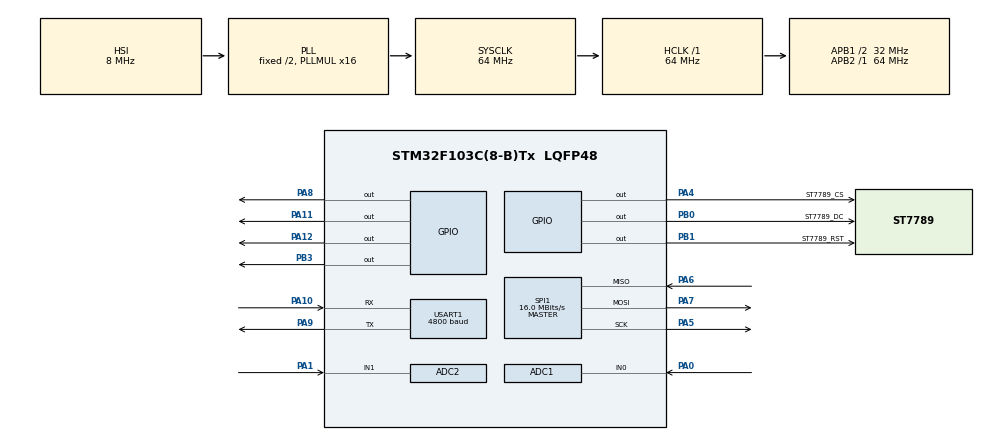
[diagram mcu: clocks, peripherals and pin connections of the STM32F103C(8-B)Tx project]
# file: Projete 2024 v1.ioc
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ADC1.Channel-0\#ChannelRegularConversion=ADC_CHANNEL_0
ADC1.NbrOfConversionFlag=1
ADC1.Rank-0\#ChannelRegularConversion=1
ADC1.SamplingTime-0\#ChannelRegularConversion=ADC_SAMPLETIME_1CYCLE_5
ADC1.master=1
ADC2.Channel-0\#ChannelRegularConversion=ADC_CHANNEL_1
ADC2.NbrOfConversionFlag=1
ADC2.Rank-0\#ChannelRegularConversion=1
ADC2.SamplingTime-0\#ChannelRegularConversion=ADC_SAMPLETIME_1CYCLE_5
Mcu.Family=STM32F1
Mcu.Name=STM32F103C(8-B)Tx
Mcu.Package=LQFP48
NVIC.PriorityGroup=NVIC_PRIORITYGROUP_4
PA0-WKUP.Signal=ADCx_IN0
PA1.Signal=ADCx_IN1
PA10.Mode=Asynchronous
PA10.Signal=USART1_RX
PA11.Signal=GPIO_Output
PA12.Signal=GPIO_Output
PA13.Mode=Serial_Wire
PA13.Signal=SYS_JTMS-SWDIO
PA14.Mode=Serial_Wire
PA14.Signal=SYS_JTCK-SWCLK
PA4.GPIO_Label=ST7789_CS
PA4.Signal=GPIO_Output
PA5.Mode=Full_Duplex_Master
PA5.Signal=SPI1_SCK
PA6.Mode=Full_Duplex_Master
PA6.Signal=SPI1_MISO
PA7.Mode=Full_Duplex_Master
PA7.Signal=SPI1_MOSI
PA8.GPIO_ModeDefaultOutputPP=GPIO_MODE_OUTPUT_OD
PA8.Signal=GPIO_Output
PA9.Mode=Asynchronous
PA9.Signal=USART1_TX
PB0.GPIO_Label=ST7789_DC
PB0.Signal=GPIO_Output
PB1.GPIO_Label=ST7789_RST
PB1.Signal=GPIO_Output
PB3.GPIO_PuPd=GPIO_PULLDOWN
PB3.Signal=GPIO_Output
ProjectManager.HeapSize=0x200
ProjectManager.StackSize=0x400
ProjectManager.TargetToolchain=STM32CubeIDE
RCC.ADCPresc=RCC_ADCPCLK2_DIV8
RCC.AHBFreq_Value=64000000
RCC.APB1CLKDivider=RCC_HCLK_DIV2
RCC.APB1Freq_Value=32000000
RCC.APB1TimFreq_Value=64000000
RCC.APB2Freq_Value=64000000
RCC.APB2TimFreq_Value=64000000
RCC.HCLKFreq_Value=64000000
RCC.PLLMUL=RCC_PLL_MUL16
RCC.SYSCLKFreq_VALUE=64000000
RCC.SYSCLKSource=RCC_SYSCLKSOURCE_PLLCLK
RCC.USBFreq_Value=64000000
SH.ADCx_IN0.0=ADC1_IN0,IN0
SH.ADCx_IN1.0=ADC2_IN1,IN1
SPI1.BaudRatePrescaler=SPI_BAUDRATEPRESCALER_4
SPI1.CLKPolarity=SPI_POLARITY_HIGH
SPI1.CalculateBaudRate=16.0 MBits/s
SPI1.Direction=SPI_DIRECTION_2LINES
SPI1.Mode=SPI_MODE_MASTER
SPI1.VirtualType=VM_MASTER
USART1.BaudRate=4800
USART1.VirtualMode=VM_ASYNC
board=custom

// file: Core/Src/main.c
/* USER CODE BEGIN Header */
/**
  **************************
  * @file           : main.c
  * @brief          : Main program body
  **************************
  * @attention
  *
  * <h2><center>&copy; Copyright (c) 2024 STMicroelectronics.
  * All rights reserved.</center></h2>
  *
  * This software component is licensed by ST under BSD 3-Clause license,
  * the "License"; You may not use this file except in compliance with the
  * License. You may obtain a copy of the License at:
  *                        opensource.org/licenses/BSD-3-Clause
  *
  **************************
  */
/* USER CODE END Header */
#include "main.h"

/* USER CODE BEGIN Includes */
#include "ST7789/ST7789/st7789.h"
#include "string.h"
#include "stdio.h"
#include "stdlib.h"
/* USER CODE END Includes */

/* USER CODE BEGIN PD */
#define device_tag "modem"
#define ubidots_token "BBUS-iMJmzK3U5LcwLZPmgtta2SA47Jm7g4"
/* USER CODE END PD */

ADC_HandleTypeDef hadc1;
ADC_HandleTypeDef hadc2;

SPI_HandleTypeDef hspi1;

UART_HandleTypeDef huart1;

/* USER CODE BEGIN PV */
int i;
uint32_t rawCurrentInput; //Pino A0
double currentV;
double currentVRMS;
double currentVMAX;
double currentVMIN;
double currentOutput = 0;
double currentOutputMilis;
uint32_t rawVoltageInput; //Pino A1
double voltageV;
double voltageVMAX;
double voltageVMIN;
double voltageVRMS;
double voltageOutput = 0;
double powerOutput = 0;
double previousVoltageOutput = 0;
double previousCurrentOutput = 0;
double previousPowerOutput = 0;

int indx = 0;
short onOff = 1;
/* USER CODE END PV */

void SystemClock_Config(void);
static void MX_GPIO_Init(void);
static void MX_SPI1_Init(void);
static void MX_ADC1_Init(void);
static void MX_ADC2_Init(void);
static void MX_USART1_UART_Init(void);
/* USER CODE BEGIN PFP */
double sqrt(double);
int sprintf(char *str, const char *format, ...);
int	snprintf (char *__restrict, size_t, const char *__restrict, ...);
void Communicate(void);
void relay_control(short);
/* USER CODE END PFP */

/* USER CODE BEGIN 0 */
char TxData[200];
char incomingData[250];
char RxData[300];
char volString[50];
char curString[50];
char powString[50];
char temString[100];

char ledString[17];
/* USER CODE END 0 */

int main(void)
{

  /* MCU Configuration--------------------------------------------------------*/

  /* Reset of all peripherals, Initializes the Flash interface and the Systick. */
  HAL_Init();

  /* Configure the system clock */
  SystemClock_Config();

  /* Initialize all configured peripherals */
  MX_GPIO_Init();
  MX_SPI1_Init();
  MX_ADC1_Init();
  MX_ADC2_Init();
  MX_USART1_UART_Init();
  /* USER CODE BEGIN 2 */
  //HAL_GPIO_WritePin(GPIOA, GPIO_PIN_8, onOff);
  relay_control(onOff);
  ST7789_Init();

  ST7789_Fill_Color(WHITE);

  HAL_GPIO_WritePin(GPIOA, GPIO_PIN_11, 1);
  HAL_Delay(1000);
  HAL_GPIO_WritePin(GPIOA, GPIO_PIN_11, 0);
  HAL_Delay(12500);

  sprintf(TxData, "ATE0\r\n");
  	    HAL_UART_Transmit(&huart1, (uint8_t*)TxData, strlen(TxData), 1000);
		HAL_Delay(2000);
  sprintf(TxData, "AT+GSMBUSY=1\r\n");
      	HAL_UART_Transmit(&huart1, (uint8_t*)TxData, strlen(TxData), 1000);
      	HAL_Delay(2000);
  sprintf(TxData, "AT+CGATT=1\r\n");
    	HAL_UART_Transmit(&huart1, (uint8_t*)TxData, strlen(TxData), 1000);
    	HAL_Delay(2000);
  sprintf(TxData, "AT+CIPMUX=0\r\n");
  	  	HAL_UART_Transmit(&huart1, (uint8_t*)TxData, strlen(TxData), 1000);
    	HAL_Delay(2000);
  sprintf(TxData, "AT+CSTT=\"zap.vivo.com.br\",\"vivo\",\"vivo\"\r\n");
        HAL_UART_Transmit(&huart1, (uint8_t*)TxData, strlen(TxData), 1000);
        HAL_Delay(5000);
  sprintf(TxData, "AT+CIICR\r\n");
        HAL_UART_Transmit(&huart1, (uint8_t*)TxData, strlen(TxData), 1000);
        HAL_Delay(2000);
  sprintf(TxData, "AT+CIFSR\r\n");
        HAL_UART_Transmit(&huart1, (uint8_t*)TxData, strlen(TxData), 1000);
        HAL_Delay(2000);
  sprintf(TxData, "AT+CIPSHUT\r\n");
        HAL_UART_Transmit(&huart1, (uint8_t*)TxData, strlen(TxData), 1000);
        HAL_Delay(2000);

  sprintf(TxData, "AT+CIPSTART=\"TCP\",\"industrial.api.ubidots.com\",\"80\"\r\n");
        HAL_UART_Transmit(&huart1, (uint8_t*)TxData, strlen(TxData), 1000);
        HAL_Delay(10000);

  /* USER CODE END 2 */

  /* Infinite loop */
  /* USER CODE BEGIN WHILE */
  while (1)
  {

	  currentVMAX = -999999;
	  currentVMIN = 999999;
	  voltageVMAX = -999999;
	  voltageVMIN = 999999;
	 // HAL_GPIO_WritePin(GPIOA, GPIO_PIN_8, onOff);
	  relay_control(onOff);

	for (i = 0; i < 400; i++) {

	//Corrente
		HAL_ADC_Start(&hadc1);
		rawCurrentInput = HAL_ADC_GetValue(&hadc1);
		currentV = ((double)rawCurrentInput/4096)*3.3;

		if (currentVMAX < currentV) {
			currentVMAX = currentV;
		}
		if (currentVMIN > currentV) {
			currentVMIN = currentV;
		}

		currentV = ((double)rawCurrentInput/4096)*3.3;

		if (currentVMAX < currentV) {
			currentVMAX = currentV;
		}
		if (currentVMIN > currentV) {
			currentVMIN = currentV;
		}

	//Tensão

		HAL_ADC_Start(&hadc2);
		rawVoltageInput = HAL_ADC_GetValue(&hadc2);
		voltageV = ((double)rawVoltageInput/4096)*3.3;

		if (voltageVMAX < voltageV) {
			voltageVMAX = voltageV;
		}
		if (voltageVMIN > voltageV) {
			voltageVMIN = voltageV;
		}

	}

	currentVRMS = (currentVMAX - currentVMIN) / (2 * sqrt(2));
	voltageVRMS = (voltageVMAX - voltageVMIN) / (2 * sqrt(2));

	currentOutput = previousCurrentOutput + 0.97 * ((currentVRMS * 3.94)-previousCurrentOutput);      //currentVRMS * (4.020);
	voltageOutput = previousVoltageOutput + 0.97 * ((voltageVRMS * 668.420)-previousVoltageOutput);
	powerOutput = previousPowerOutput + 0.97 * ((voltageOutput * currentOutput)-previousPowerOutput);

	previousVoltageOutput = voltageOutput;
	previousCurrentOutput = currentOutput;
	previousPowerOutput = powerOutput;

	currentOutputMilis = currentOutput * 1000;

	snprintf(volString, 50, "%1f", voltageOutput);
	sprintf(temString, "Tensao:%13sV", volString);
	ST7789_WriteString(0, 165, temString, Font_11x18, BLACK, WHITE);

	snprintf(curString, 50, "%1f", currentOutputMilis);
	sprintf(temString, "Corrente:%10smA", curString);
	ST7789_WriteString(0, 111, temString, Font_11x18, BLACK, WHITE);
	ST7789_WriteString(0, 129, "   ", Font_11x18, BLACK, WHITE);

	snprintf(powString, 50, "%1f", powerOutput);
	sprintf(temString, "Potencia:%11sW", powString);
	ST7789_WriteString(0, 57, temString, Font_11x18, BLACK, WHITE);

	Communicate();

    /* USER CODE END WHILE */

  }
}

void SystemClock_Config(void)
{
  RCC_OscInitTypeDef RCC_OscInitStruct = {0};
  RCC_ClkInitTypeDef RCC_ClkInitStruct = {0};
  RCC_PeriphCLKInitTypeDef PeriphClkInit = {0};

  /** Initializes the RCC Oscillators according to the specified parameters
  * in the RCC_OscInitTypeDef structure.
  */
  RCC_OscInitStruct.OscillatorType = RCC_OSCILLATORTYPE_HSI;
  RCC_OscInitStruct.HSIState = RCC_HSI_ON;
  RCC_OscInitStruct.HSICalibrationValue = RCC_HSICALIBRATION_DEFAULT;
  RCC_OscInitStruct.PLL.PLLState = RCC_PLL_ON;
  RCC_OscInitStruct.PLL.PLLSource = RCC_PLLSOURCE_HSI_DIV2;
  RCC_OscInitStruct.PLL.PLLMUL = RCC_PLL_MUL16;
  if (HAL_RCC_OscConfig(&RCC_OscInitStruct) != HAL_OK)
  {
    Error_Handler();
  }
  /** Initializes the CPU, AHB and APB buses clocks
  */
  RCC_ClkInitStruct.ClockType = RCC_CLOCKTYPE_HCLK|RCC_CLOCKTYPE_SYSCLK
                              |RCC_CLOCKTYPE_PCLK1|RCC_CLOCKTYPE_PCLK2;
  RCC_ClkInitStruct.SYSCLKSource = RCC_SYSCLKSOURCE_PLLCLK;
  RCC_ClkInitStruct.AHBCLKDivider = RCC_SYSCLK_DIV1;
  RCC_ClkInitStruct.APB1CLKDivider = RCC_HCLK_DIV2;
  RCC_ClkInitStruct.APB2CLKDivider = RCC_HCLK_DIV1;

  if (HAL_RCC_ClockConfig(&RCC_ClkInitStruct, FLASH_LATENCY_2) != HAL_OK)
  {
    Error_Handler();
  }
  PeriphClkInit.PeriphClockSelection = RCC_PERIPHCLK_ADC;
  PeriphClkInit.AdcClockSelection = RCC_ADCPCLK2_DIV8;
  if (HAL_RCCEx_PeriphCLKConfig(&PeriphClkInit) != HAL_OK)
  {
    Error_Handler();
  }
}

static void MX_ADC1_Init(void)
{

  ADC_ChannelConfTypeDef sConfig = {0};

  /** Common config
  */
  hadc1.Instance = ADC1;
  hadc1.Init.ScanConvMode = ADC_SCAN_DISABLE;
  hadc1.Init.ContinuousConvMode = DISABLE;
  hadc1.Init.DiscontinuousConvMode = DISABLE;
  hadc1.Init.ExternalTrigConv = ADC_SOFTWARE_START;
  hadc1.Init.DataAlign = ADC_DATAALIGN_RIGHT;
  hadc1.Init.NbrOfConversion = 1;
  if (HAL_ADC_Init(&hadc1) != HAL_OK)
  {
    Error_Handler();
  }
  /** Configure Regular Channel
  */
  sConfig.Channel = ADC_CHANNEL_0;
  sConfig.Rank = ADC_REGULAR_RANK_1;
  sConfig.SamplingTime = ADC_SAMPLETIME_1CYCLE_5;
  if (HAL_ADC_ConfigChannel(&hadc1, &sConfig) != HAL_OK)
  {
    Error_Handler();
  }

}

static void MX_ADC2_Init(void)
{

  ADC_ChannelConfTypeDef sConfig = {0};

  /** Common config
  */
  hadc2.Instance = ADC2;
  hadc2.Init.ScanConvMode = ADC_SCAN_DISABLE;
  hadc2.Init.ContinuousConvMode = DISABLE;
  hadc2.Init.DiscontinuousConvMode = DISABLE;
  hadc2.Init.ExternalTrigConv = ADC_SOFTWARE_START;
  hadc2.Init.DataAlign = ADC_DATAALIGN_RIGHT;
  hadc2.Init.NbrOfConversion = 1;
  if (HAL_ADC_Init(&hadc2) != HAL_OK)
  {
    Error_Handler();
  }
  /** Configure Regular Channel
  */
  sConfig.Channel = ADC_CHANNEL_1;
  sConfig.Rank = ADC_REGULAR_RANK_1;
  sConfig.SamplingTime = ADC_SAMPLETIME_1CYCLE_5;
  if (HAL_ADC_ConfigChannel(&hadc2, &sConfig) != HAL_OK)
  {
    Error_Handler();
  }

}

static void MX_SPI1_Init(void)
{

  /* SPI1 parameter configuration*/
  hspi1.Instance = SPI1;
  hspi1.Init.Mode = SPI_MODE_MASTER;
  hspi1.Init.Direction = SPI_DIRECTION_2LINES;
  hspi1.Init.DataSize = SPI_DATASIZE_8BIT;
  hspi1.Init.CLKPolarity = SPI_POLARITY_HIGH;
  hspi1.Init.CLKPhase = SPI_PHASE_1EDGE;
  hspi1.Init.NSS = SPI_NSS_SOFT;
  hspi1.Init.BaudRatePrescaler = SPI_BAUDRATEPRESCALER_4;
  hspi1.Init.FirstBit = SPI_FIRSTBIT_MSB;
  hspi1.Init.TIMode = SPI_TIMODE_DISABLE;
  hspi1.Init.CRCCalculation = SPI_CRCCALCULATION_DISABLE;
  hspi1.Init.CRCPolynomial = 10;
  if (HAL_SPI_Init(&hspi1) != HAL_OK)
  {
    Error_Handler();
  }

}

static void MX_USART1_UART_Init(void)
{

  huart1.Instance = USART1;
  huart1.Init.BaudRate = 4800;
  huart1.Init.WordLength = UART_WORDLENGTH_8B;
  huart1.Init.StopBits = UART_STOPBITS_1;
  huart1.Init.Parity = UART_PARITY_NONE;
  huart1.Init.Mode = UART_MODE_TX_RX;
  huart1.Init.HwFlowCtl = UART_HWCONTROL_NONE;
  huart1.Init.OverSampling = UART_OVERSAMPLING_16;
  if (HAL_UART_Init(&huart1) != HAL_OK)
  {
    Error_Handler();
  }

}

static void MX_GPIO_Init(void)
{
  GPIO_InitTypeDef GPIO_InitStruct = {0};

  /* GPIO Ports Clock Enable */
  __HAL_RCC_GPIOA_CLK_ENABLE();
  __HAL_RCC_GPIOB_CLK_ENABLE();

  /*Configure GPIO pin Output Level */
  HAL_GPIO_WritePin(GPIOA, ST7789_CS_Pin|GPIO_PIN_8|GPIO_PIN_11|GPIO_PIN_12, GPIO_PIN_RESET);

  /*Configure GPIO pin Output Level */
  HAL_GPIO_WritePin(GPIOB, ST7789_DC_Pin|ST7789_RST_Pin|GPIO_PIN_3, GPIO_PIN_RESET);

  /*Configure GPIO pins : ST7789_CS_Pin PA11 PA12 */
  GPIO_InitStruct.Pin = ST7789_CS_Pin|GPIO_PIN_11|GPIO_PIN_12;
  GPIO_InitStruct.Mode = GPIO_MODE_OUTPUT_PP;
  GPIO_InitStruct.Pull = GPIO_NOPULL;
  GPIO_InitStruct.Speed = GPIO_SPEED_FREQ_LOW;
  HAL_GPIO_Init(GPIOA, &GPIO_InitStruct);

  /*Configure GPIO pins : ST7789_DC_Pin ST7789_RST_Pin */
  GPIO_InitStruct.Pin = ST7789_DC_Pin|ST7789_RST_Pin;
  GPIO_InitStruct.Mode = GPIO_MODE_OUTPUT_PP;
  GPIO_InitStruct.Pull = GPIO_NOPULL;
  GPIO_InitStruct.Speed = GPIO_SPEED_FREQ_LOW;
  HAL_GPIO_Init(GPIOB, &GPIO_InitStruct);

  /*Configure GPIO pin : PA8 */
  GPIO_InitStruct.Pin = GPIO_PIN_8;
  GPIO_InitStruct.Mode = GPIO_MODE_OUTPUT_OD;
  GPIO_InitStruct.Pull = GPIO_NOPULL;
  GPIO_InitStruct.Speed = GPIO_SPEED_FREQ_LOW;
  HAL_GPIO_Init(GPIOA, &GPIO_InitStruct);

  /*Configure GPIO pin : PB3 */
  GPIO_InitStruct.Pin = GPIO_PIN_3;
  GPIO_InitStruct.Mode = GPIO_MODE_OUTPUT_PP;
  GPIO_InitStruct.Pull = GPIO_PULLDOWN;
  GPIO_InitStruct.Speed = GPIO_SPEED_FREQ_LOW;
  HAL_GPIO_Init(GPIOB, &GPIO_InitStruct);

}

/* USER CODE BEGIN 4 */

void relay_control(short state)
{
	if(state==0)
	{
		//turn on
		HAL_GPIO_WritePin(GPIOA, GPIO_PIN_8, 0);
	}
	else if(state==1)
	{
		//turn off
		HAL_GPIO_WritePin(GPIOA, GPIO_PIN_8, 1);
	}
}

void Communicate() {

	char *token;
	char *lastToken = NULL;
	char *secondLastToken = NULL;

	sprintf(TxData, "AT+CIPSEND\r\n");
	       HAL_UART_Transmit(&huart1, (uint8_t*)TxData, strlen(TxData), 1000);
	       HAL_Delay(700);

	sprintf(TxData, "POST /api/v1.6/devices/"device_tag" HTTP/1.1\r\nHost: industrial.api.ubidots.com\r\nContent-Type: application/json\r\nX-Auth-Token: "ubidots_token"\r\nContent-Length: %d\r\n\r\n{\"voltage\":%s,\"current\":%s,\"power\":%s}\x1A", 32 + strlen(volString) + strlen(curString) + strlen(powString), volString, curString, powString);
	       HAL_UART_Transmit(&huart1, (uint8_t*)TxData, strlen(TxData), 1000);
	       HAL_Delay(3700);

	sprintf(TxData, "AT+CIPSEND\r\n");
	       HAL_UART_Transmit(&huart1, (uint8_t*)TxData, strlen(TxData), 1000);
	       HAL_Delay(700);

	sprintf(TxData, "GET /api/v1.6/devices/"device_tag"/onOff/lv HTTP/1.1\r\nHost: industrial.api.ubidots.com\r\nX-Auth-Token: "ubidots_token"\r\n\r\n\x1A");
	       HAL_UART_Transmit(&huart1, (uint8_t*)TxData, strlen(TxData), 1000);
	       HAL_Delay(100);

	       HAL_UART_Receive(&huart1, (uint8_t*)RxData, 900, 6500);

	       token = strtok(RxData, "\r\n");
	           while (token != NULL) {
	               if (strlen(token) > 0) {
	                   secondLastToken = lastToken;
	                   lastToken = token;
	               }
	               token = strtok(NULL, "\r\n");
	           }
	           onOff = atoi(secondLastToken);

}

/* USER CODE END 4 */

void Error_Handler(void)
{
  __disable_irq();
  while (1)
  {
  }
}

/************************ (C) COPYRIGHT STMicroelectronics *****END OF FILE****/
